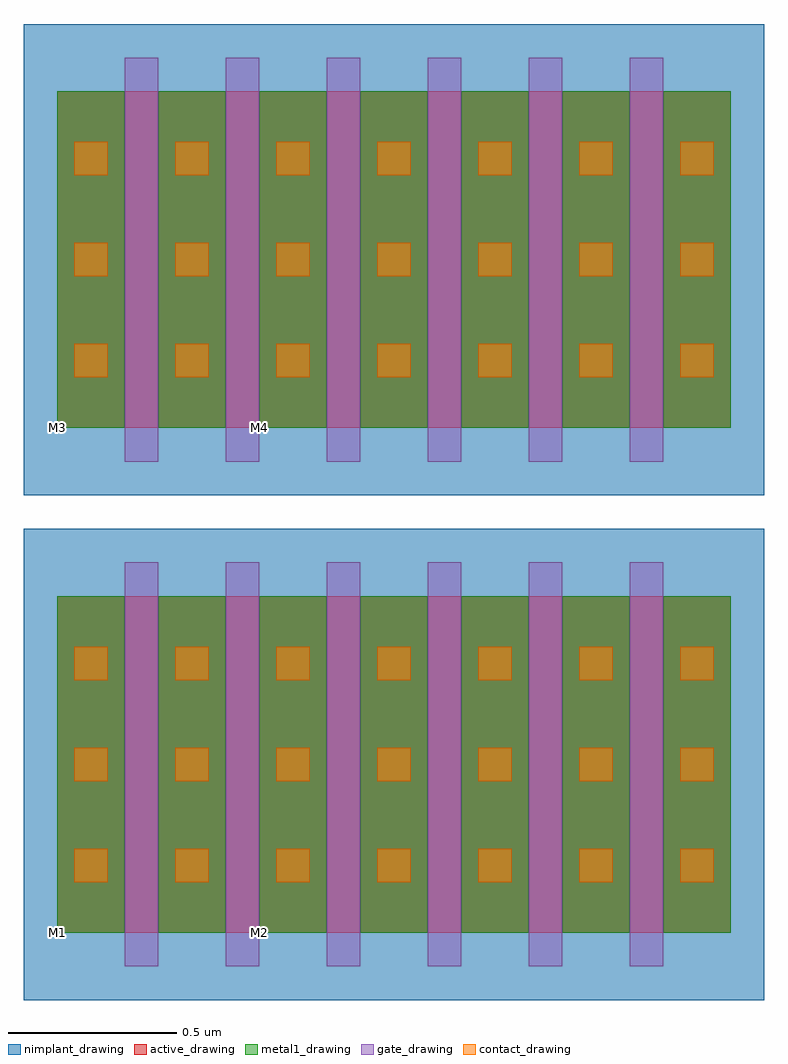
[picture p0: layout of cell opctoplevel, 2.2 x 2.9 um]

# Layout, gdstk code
import gdstk
lib = gdstk.Library(unit=1e-6, precision=1e-09)
def R(c, l, rs):  # rectangles x0, y0, x1, y1
    for r in rs: c.add(gdstk.rectangle(r[:2], r[2:], *l))
def A(c, l, x, y, w, h, nx, ny, dx, dy):  # array of equal rectangles
    R(c, l, [(x+i*dx, y+j*dy, x+i*dx+w, y+j*dy+h) for i in range(nx) for j in range(ny)])
active_drawing = (1, 0)
nimplant_drawing = (5, 0)
gate_drawing = (6, 0)
contact_drawing = (7, 0)
metal1_drawing = (8, 0)

opctoplevel = lib.new_cell('opctoplevel')
R(opctoplevel, active_drawing, [(-0.2,0,0.6,1), (0.4,0,1.8,1), (-0.2,1.5,0.6,2.5), (0.4,1.5,1.8,2.5)])
R(opctoplevel, nimplant_drawing, [(-0.3,-0.2,0.7,1.2), (0.3,-0.2,1.9,1.2), (-0.3,1.3,0.7,2.7), (0.3,1.3,1.9,2.7)])
A(opctoplevel, gate_drawing, 0, -0.1, 0.1, 1.2, 6, 2, 0.3, 1.5)
A(opctoplevel, contact_drawing, -0.15, 0.15, 0.1, 0.1, 3, 3, 0.3, 0.3)
A(opctoplevel, contact_drawing, 0.45, 0.15, 0.1, 0.1, 5, 3, 0.3, 0.3)
A(opctoplevel, contact_drawing, -0.15, 1.65, 0.1, 0.1, 3, 3, 0.3, 0.3)
A(opctoplevel, contact_drawing, 0.45, 1.65, 0.1, 0.1, 5, 3, 0.3, 0.3)
A(opctoplevel, metal1_drawing, -0.2, 0, 0.2, 1, 3, 2, 0.3, 1.5)
A(opctoplevel, metal1_drawing, 0.4, 0, 0.2, 1, 5, 2, 0.3, 1.5)
opctoplevel.add(gdstk.Label('M1', (-0.2,0), layer=234, texttype=0))
opctoplevel.add(gdstk.Label('M2', (0.4,0), layer=234, texttype=0))
opctoplevel.add(gdstk.Label('M3', (-0.2,1.5), layer=234, texttype=0))
opctoplevel.add(gdstk.Label('M4', (0.4,1.5), layer=234, texttype=0))

lib.write_gds('opctoplevel.gds')
